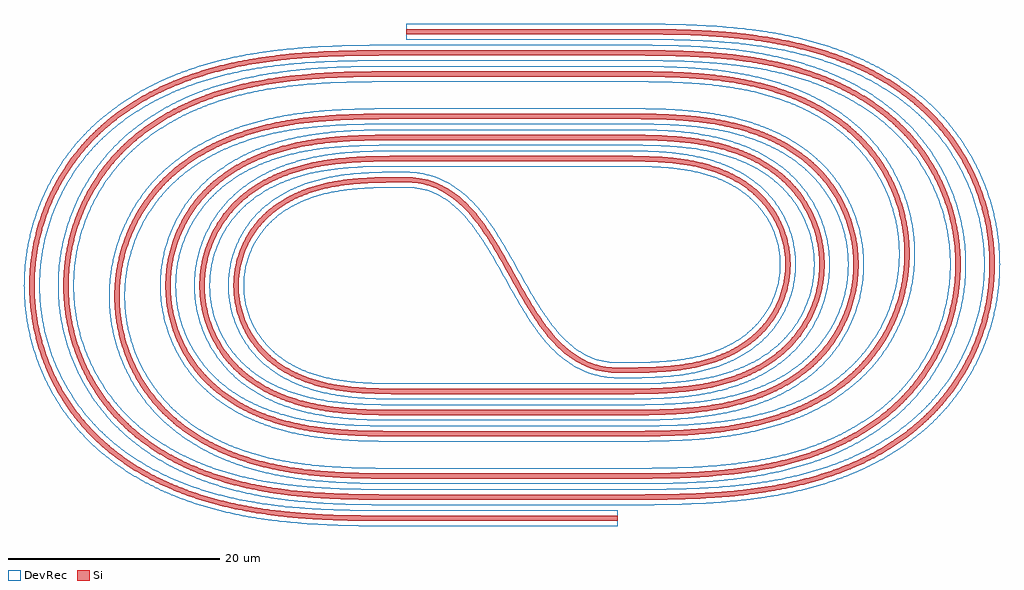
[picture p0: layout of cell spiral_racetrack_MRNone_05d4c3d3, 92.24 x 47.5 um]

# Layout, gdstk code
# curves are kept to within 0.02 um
from math import pi, radians
import gdstk
lib = gdstk.Library(unit=1e-6, precision=1e-09)
def R(c, l, rs):  # rectangles x0, y0, x1, y1
    for r in rs: c.add(gdstk.rectangle(r[:2], r[2:], *l))
def P(c, l, *ps):  # polygons
    for p in ps: c.add(gdstk.Polygon(p, *l))
Si = (1, 0)
DevRec = (68, 0)

bend_s_s20_m18_csstrip__ = lib.new_cell('bend_s_S20_m18_CSstrip__e667d680')
P(bend_s_s20_m18_csstrip__, Si, [(20,-18.25),(19.381,-18.227),(18.497,-18.11),(17.937,-17.979),(17.136,-17.708),(16.629,-17.481),(15.906,-17.076),(15.225,-16.599),(14.584,-16.059),(13.977,-15.462),(13.402,-14.814),(12.854,-14.123),(12.16,-13.143),(11.02,-11.311),(8.86,-7.479),(7.915,-5.893),(6.919,-4.411),(6.394,-3.725),(5.848,-3.084),(5.276,-2.494),(4.676,-1.961),(4.045,-1.49),(3.606,-1.213),(2.676,-0.756),(1.931,-0.503),(1.408,-0.381),(0.863,-0.298),(0,-0.25),(0,0.25),(0.619,0.227),(1.503,0.11),(2.063,-0.021),(2.864,-0.292),(3.371,-0.519),(4.094,-0.924),(4.775,-1.401),(5.416,-1.941),(6.023,-2.538),(6.598,-3.186),(7.146,-3.877),(7.84,-4.857),(8.98,-6.689),(11.14,-10.521),(12.085,-12.107),(13.081,-13.589),(13.606,-14.275),(14.152,-14.916),(14.724,-15.506),(15.324,-16.039),(15.955,-16.51),(16.394,-16.787),(17.324,-17.244),(18.069,-17.497),(18.592,-17.619),(19.137,-17.702),(20,-17.75)])
P(bend_s_s20_m18_csstrip__, DevRec, [(20,-18.75),(19.344,-18.726),(18.403,-18.601),(17.804,-18.461),(16.949,-18.172),(16.146,-17.794),(15.394,-17.339),(14.691,-16.813),(14.031,-16.227),(13.412,-15.587),(12.827,-14.902),(12.273,-14.178),(11.574,-13.163),(10.588,-11.564),(8.58,-7.997),(7.649,-6.413),(6.681,-4.938),(5.831,-3.827),(5.114,-3.037),(4.552,-2.51),(3.765,-1.904),(3.143,-1.527),(2.263,-1.133),(1.558,-0.925),(0.806,-0.795),(0,-0.75),(0,0.75),(0.656,0.726),(1.597,0.601),(2.196,0.461),(3.051,0.172),(3.854,-0.206),(4.606,-0.661),(5.309,-1.187),(5.969,-1.773),(6.588,-2.413),(7.173,-3.098),(7.727,-3.822),(8.426,-4.837),(9.412,-6.436),(11.42,-10.003),(12.351,-11.587),(13.319,-13.062),(14.169,-14.173),(14.886,-14.963),(15.448,-15.49),(16.235,-16.096),(16.857,-16.473),(17.737,-16.867),(18.442,-17.075),(19.194,-17.205),(20,-17.25)])

bend_euler_r10_a180_p0p_ = lib.new_cell('bend_euler_R10_A180_P0p_30772b39')
P(bend_euler_r10_a180_p0p_, Si, [(0,-0.25),(0,0.25),(2.604,0.273),(4.503,0.368),(6.214,0.563),(7.73,0.858),(8.883,1.184),(9.845,1.539),(10.772,1.97),(11.655,2.481),(12.614,3.182),(13.475,3.996),(14.121,4.779),(14.755,5.779),(15.188,6.697),(15.556,7.822),(15.77,8.987),(15.828,10),(15.77,11.013),(15.556,12.178),(15.188,13.303),(14.755,14.221),(14.121,15.221),(13.475,16.004),(12.614,16.818),(11.655,17.519),(10.772,18.03),(9.845,18.461),(8.883,18.816),(7.73,19.142),(6.214,19.437),(4.503,19.632),(2.604,19.727),(0,19.75),(0,20.25),(2.268,20.235),(4.192,20.156),(5.766,20.005),(7.158,19.779),(8.531,19.447),(9.707,19.055),(10.844,18.555),(11.47,18.218),(12.075,17.842),(12.795,17.316),(13.594,16.602),(14.195,15.94),(14.73,15.224),(15.194,14.46),(15.583,13.655),(15.893,12.817),(16.122,11.953),(16.267,11.071),(16.328,10),(16.285,9.107),(16.157,8.222),(15.893,7.183),(15.583,6.345),(15.194,5.54),(14.73,4.776),(14.195,4.06),(13.594,3.398),(13.07,2.912),(12.368,2.361),(11.624,1.872),(10.844,1.445),(10.036,1.077),(9.207,0.765),(8.361,0.505),(7.331,0.256),(6.463,0.096),(5.417,-0.047),(4.192,-0.156),(2.967,-0.217)])
P(bend_euler_r10_a180_p0p_, DevRec, [(0,-0.75),(0,0.75),(2.419,0.768),(4.125,0.842),(5.639,0.987),(6.962,1.201),(8.413,1.56),(9.501,1.939),(10.686,2.489),(11.653,3.081),(12.538,3.776),(13.215,4.454),(13.901,5.336),(14.39,6.159),(14.782,7.032),(15.071,7.945),(15.273,9.044),(15.328,10),(15.273,10.956),(15.071,12.055),(14.782,12.968),(14.39,13.841),(13.901,14.664),(13.215,15.546),(12.538,16.224),(11.653,16.919),(10.686,17.511),(9.501,18.061),(8.413,18.44),(6.962,18.799),(5.639,19.013),(4.125,19.158),(2.419,19.232),(0,19.25),(0,20.75),(2.277,20.735),(4.226,20.655),(5.83,20.501),(7.255,20.27),(8.669,19.928),(9.886,19.521),(11.068,19.002),(12.197,18.36),(12.96,17.822),(13.813,17.087),(14.459,16.402),(15.037,15.659),(15.542,14.864),(15.968,14.024),(16.37,12.968),(16.611,12.057),(16.783,10.941),(16.828,10),(16.783,9.059),(16.648,8.127),(16.425,7.212),(16.115,6.323),(15.722,5.467),(15.248,4.653),(14.815,4.037),(14.209,3.316),(13.537,2.657),(12.811,2.065),(12.04,1.541),(11.233,1.082),(10.397,0.687),(9.541,0.351),(8.669,0.072),(7.61,-0.196),(6.543,-0.398),(5.473,-0.544),(4.226,-0.655),(3.161,-0.71)])

straight_l20_csstrip_wno = lib.new_cell('straight_L20_CSstrip_WNone_N2')
R(straight_l20_csstrip_wno, Si, [(0,-0.25,20,0.25)])
R(straight_l20_csstrip_wno, DevRec, [(0,-0.75,20,0.75)])

bend_euler_r12_a180_p0p_ = lib.new_cell('bend_euler_R12_A180_P0p_834d3699')
P(bend_euler_r12_a180_p0p_, Si, [(0,-0.25),(0,0.25),(3.107,0.277),(5.169,0.374),(7.216,0.589),(9.067,0.929),(10.386,1.281),(11.671,1.734),(12.909,2.298),(13.94,2.888),(15.042,3.677),(15.556,4.117),(16.043,4.589),(16.502,5.094),(16.928,5.628),(17.319,6.188),(17.673,6.772),(17.989,7.378),(18.265,8.002),(18.501,8.643),(18.695,9.298),(18.847,9.964),(18.956,10.638),(19.022,11.317),(19.044,12),(19.022,12.683),(18.956,13.362),(18.847,14.036),(18.695,14.702),(18.501,15.357),(18.265,15.998),(17.989,16.622),(17.673,17.228),(17.319,17.812),(16.928,18.372),(16.502,18.906),(16.043,19.411),(15.556,19.883),(15.042,20.323),(13.94,21.112),(12.909,21.702),(11.671,22.266),(10.386,22.719),(9.067,23.071),(7.216,23.411),(5.169,23.626),(3.107,23.723),(0,23.75),(0,24.25),(2.773,24.231),(5.032,24.137),(6.941,23.953),(8.665,23.669),(10.197,23.297),(11.034,23.035),(11.858,22.73),(12.664,22.379),(13.294,22.065),(14.504,21.341),(15.493,20.601),(16.277,19.887),(16.998,19.093),(17.639,18.234),(18.195,17.317),(18.66,16.351),(19.031,15.344),(19.303,14.307),(19.474,13.249),(19.544,12),(19.492,10.929),(19.338,9.868),(19.083,8.827),(18.729,7.814),(18.195,6.683),(17.639,5.766),(16.998,4.907),(16.277,4.113),(15.628,3.513),(14.794,2.86),(13.908,2.281),(12.981,1.774),(12.02,1.337),(11.034,0.965),(10.028,0.656),(9.008,0.403),(7.632,0.146),(6.421,-0.015),(5.205,-0.125),(3.815,-0.201)])
P(bend_euler_r12_a180_p0p_, DevRec, [(0,-0.75),(0,0.75),(2.581,0.765),(4.795,0.85),(6.646,1.018),(8.302,1.278),(9.117,1.454),(10.081,1.711),(11.485,2.198),(12.825,2.819),(13.395,3.139),(14.079,3.58),(15.1,4.379),(15.907,5.174),(16.624,6.058),(16.988,6.598),(17.316,7.16),(17.608,7.742),(17.862,8.341),(18.077,8.955),(18.252,9.582),(18.386,10.219),(18.48,10.863),(18.544,12),(18.48,13.137),(18.386,13.781),(18.252,14.418),(18.077,15.045),(17.862,15.659),(17.608,16.258),(17.316,16.84),(16.988,17.402),(16.624,17.942),(15.907,18.826),(15.1,19.621),(14.079,20.42),(13.395,20.861),(12.825,21.181),(11.485,21.802),(10.081,22.289),(9.117,22.546),(8.302,22.722),(6.646,22.982),(4.795,23.15),(2.581,23.235),(0,23.25),(0,24.75),(2.783,24.731),(5.065,24.636),(6.828,24.471),(8.589,24.194),(10.161,23.826),(11.706,23.325),(13.041,22.754),(13.848,22.332),(14.476,21.956),(15.38,21.329),(16.23,20.623),(17.142,19.695),(17.84,18.819),(18.451,17.881),(18.97,16.887),(19.39,15.849),(19.752,14.593),(19.948,13.49),(20.038,12.374),(20.02,11.253),(19.863,9.956),(19.614,8.864),(19.261,7.801),(18.807,6.776),(18.258,5.8),(17.617,4.881),(16.891,4.028),(16.23,3.377),(15.38,2.671),(14.476,2.044),(13.528,1.493),(12.545,1.017),(11.366,0.551),(10.161,0.174),(9.115,-0.085),(7.886,-0.32),(6.652,-0.492),(5.065,-0.636),(3.659,-0.707)])

bend_euler_r14_a180_p0p_ = lib.new_cell('bend_euler_R14_A180_P0p_6c08a4f0')
P(bend_euler_r14_a180_p0p_, Si, [(0,-0.25),(0,0.25),(3.611,0.281),(6.008,0.393),(7.201,0.497),(8.389,0.641),(10.404,1.002),(12.052,1.431),(13.656,1.994),(15.046,2.627),(16.368,3.387),(16.929,3.767),(17.602,4.278),(18.241,4.831),(18.847,5.428),(19.305,5.94),(19.837,6.614),(20.229,7.179),(20.674,7.914),(21.067,8.678),(21.343,9.307),(21.584,9.951),(21.835,10.772),(22.028,11.609),(22.164,12.457),(22.241,13.313),(22.259,14),(22.241,14.687),(22.164,15.543),(22.028,16.391),(21.835,17.228),(21.584,18.049),(21.343,18.693),(21.067,19.322),(20.674,20.086),(20.229,20.821),(19.837,21.386),(19.305,22.06),(18.847,22.572),(18.241,23.169),(17.602,23.722),(16.929,24.233),(16.368,24.613),(15.046,25.373),(13.656,26.006),(12.052,26.569),(10.404,26.998),(8.389,27.359),(7.201,27.503),(6.008,27.607),(3.611,27.719),(0,27.75),(0,28.25),(3.278,28.227),(5.871,28.118),(7.253,28.001),(8.287,27.878),(10.172,27.559),(12.03,27.097),(13.026,26.777),(13.843,26.469),(14.645,26.124),(15.429,25.738),(16.192,25.31),(16.931,24.841),(18.053,23.999),(18.96,23.172),(19.801,22.246),(20.549,21.243),(21.196,20.173),(21.738,19.046),(22.168,17.872),(22.363,17.184),(22.519,16.487),(22.699,15.249),(22.759,14),(22.699,12.751),(22.519,11.513),(22.363,10.816),(22.168,10.128),(21.738,8.954),(21.196,7.827),(20.549,6.757),(19.914,5.893),(19.086,4.956),(18.32,4.229),(17.361,3.462),(16.342,2.78),(15.274,2.182),(14.166,1.664),(12.861,1.166),(11.695,0.807),(10.172,0.441),(8.803,0.197),(7.253,-0.001),(5.871,-0.118),(4.142,-0.204)])
P(bend_euler_r14_a180_p0p_, DevRec, [(0,-0.75),(0,0.75),(3.086,0.769),(5.465,0.858),(7.819,1.07),(9.806,1.388),(11.588,1.816),(12.382,2.06),(13.316,2.397),(14.076,2.716),(14.964,3.148),(15.68,3.548),(16.37,3.987),(16.902,4.366),(17.538,4.875),(18.021,5.309),(18.596,5.893),(19.133,6.518),(19.531,7.044),(19.9,7.591),(20.317,8.303),(20.615,8.891),(20.941,9.649),(21.214,10.427),(21.393,11.061),(21.568,11.867),(21.668,12.519),(21.731,13.176),(21.759,14),(21.731,14.824),(21.668,15.481),(21.568,16.133),(21.393,16.939),(21.214,17.573),(20.941,18.351),(20.615,19.109),(20.317,19.697),(19.9,20.409),(19.531,20.956),(19.133,21.482),(18.596,22.107),(18.021,22.691),(17.538,23.125),(16.902,23.634),(16.37,24.013),(15.68,24.452),(14.964,24.852),(14.076,25.284),(13.316,25.603),(12.382,25.94),(11.588,26.184),(9.806,26.612),(7.819,26.93),(5.465,27.142),(3.086,27.231),(0,27.25),(0,28.75),(3.289,28.727),(5.905,28.617),(7.829,28.44),(9.925,28.117),(11.828,27.675),(12.853,27.364),(13.696,27.064),(14.526,26.725),(15.341,26.344),(16.136,25.921),(16.91,25.454),(17.947,24.724),(19.053,23.78),(19.947,22.847),(20.419,22.274),(20.859,21.676),(21.546,20.574),(22.125,19.411),(22.589,18.198),(22.933,16.946),(23.076,16.217),(23.178,15.482),(23.258,14.186),(23.213,12.888),(23.044,11.6),(22.751,10.335),(22.338,9.103),(21.808,7.918),(21.455,7.265),(21.066,6.632),(20.304,5.58),(19.573,4.741),(18.785,3.973),(17.802,3.166),(16.757,2.449),(15.661,1.82),(14.526,1.275),(13.191,0.751),(11.828,0.325),(10.62,0.026),(9.227,-0.242),(7.654,-0.46),(6.254,-0.592),(4.508,-0.691),(2.594,-0.739)])

bend_euler_r17_a180_p0p_ = lib.new_cell('bend_euler_R17_A180_P0p_8af989a6')
P(bend_euler_r17_a180_p0p_, Si, [(0,-0.25),(0,0.25),(4.326,0.286),(7.43,0.433),(8.803,0.555),(10.171,0.722),(11.36,0.91),(12.541,1.142),(13.544,1.378),(14.701,1.702),(16.482,2.324),(17.272,2.655),(18.2,3.094),(18.955,3.496),(19.835,4.023),(20.683,4.599),(21.494,5.224),(22.264,5.899),(22.988,6.622),(23.552,7.261),(24.181,8.068),(24.754,8.915),(25.187,9.649),(25.578,10.406),(25.991,11.342),(26.286,12.142),(26.58,13.122),(26.807,14.119),(26.967,15.129),(27.049,15.978),(27.083,17),(27.049,18.022),(26.967,18.871),(26.807,19.881),(26.58,20.878),(26.286,21.858),(25.991,22.658),(25.578,23.594),(25.187,24.351),(24.754,25.085),(24.181,25.932),(23.552,26.739),(22.988,27.378),(22.264,28.101),(21.494,28.776),(20.683,29.401),(19.835,29.977),(18.955,30.504),(18.2,30.906),(17.272,31.345),(16.482,31.676),(14.701,32.298),(13.544,32.622),(12.541,32.858),(11.36,33.09),(10.171,33.278),(8.803,33.445),(7.43,33.567),(4.326,33.714),(0,33.75),(0,34.25),(3.991,34.222),(7.119,34.09),(8.508,33.977),(9.894,33.82),(11.103,33.641),(12.305,33.419),(13.498,33.149),(14.512,32.876),(15.68,32.506),(16.828,32.076),(17.794,31.658),(18.892,31.109),(19.656,30.676),(20.544,30.109),(21.812,29.162),(22.986,28.099),(23.936,27.06),(24.888,25.794),(25.709,24.438),(26.32,23.169),(26.868,21.683),(27.264,20.149),(27.503,18.582),(27.583,17),(27.503,15.418),(27.264,13.851),(26.868,12.317),(26.32,10.831),(25.709,9.562),(24.888,8.206),(24.048,7.076),(23.232,6.153),(22.214,5.179),(21.118,4.297),(19.806,3.415),(18.582,2.727),(17.152,2.058),(15.68,1.494),(14.175,1.029),(12.647,0.653),(10.93,0.331),(9.202,0.096),(7.293,-0.078),(5.381,-0.181),(2.949,-0.239)])
P(bend_euler_r17_a180_p0p_, DevRec, [(0,-0.75),(0,0.75),(3.97,0.778),(7.052,0.908),(9.596,1.15),(10.772,1.318),(11.939,1.527),(12.929,1.742),(14.233,2.084),(15.354,2.44),(16.297,2.789),(17.222,3.18),(18.271,3.693),(19.142,4.183),(19.983,4.718),(20.789,5.301),(21.43,5.823),(22.043,6.377),(22.734,7.085),(23.377,7.837),(23.872,8.496),(24.417,9.321),(24.828,10.036),(25.198,10.772),(25.587,11.682),(25.864,12.459),(26.137,13.409),(26.347,14.376),(26.471,15.191),(26.55,16.011),(26.583,17),(26.55,17.989),(26.471,18.809),(26.347,19.624),(26.137,20.591),(25.914,21.384),(25.587,22.318),(25.198,23.228),(24.828,23.964),(24.417,24.679),(23.872,25.504),(23.377,26.163),(22.734,26.915),(22.043,27.623),(21.43,28.177),(20.789,28.699),(19.983,29.282),(19.142,29.817),(18.271,30.307),(17.222,30.82),(16.297,31.211),(15.354,31.56),(14.233,31.916),(12.929,32.258),(11.939,32.473),(10.772,32.682),(9.596,32.85),(7.052,33.092),(3.97,33.222),(0,33.25),(0,34.75),(4.002,34.722),(7.153,34.589),(9.784,34.338),(11.01,34.163),(12.231,33.944),(13.273,33.718),(14.48,33.405),(15.674,33.036),(16.683,32.671),(17.676,32.259),(18.651,31.799),(19.601,31.287),(20.524,30.723),(21.847,29.776),(23.079,28.707),(23.718,28.061),(24.202,27.519),(24.773,26.812),(25.2,26.224),(25.696,25.463),(26.062,24.835),(26.78,23.366),(27.29,22.005),(27.547,21.133),(27.716,20.427),(27.96,18.994),(28.033,18.271),(28.079,17.363),(28.074,16.455),(28.033,15.729),(27.96,15.006),(27.823,14.108),(27.677,13.396),(27.45,12.516),(27.233,11.822),(26.919,10.97),(26.557,10.137),(26.234,9.485),(25.883,8.849),(25.404,8.077),(24.549,6.902),(23.593,5.807),(22.544,4.803),(21.415,3.895),(20.22,3.083),(18.811,2.283),(17.347,1.598),(15.843,1.022),(14.308,0.547),(12.579,0.127),(11.01,-0.163),(9.258,-0.401),(7.504,-0.564),(5.576,-0.674),(2.955,-0.739)])

bend_euler_r20_a180_p0p_ = lib.new_cell('bend_euler_R20_A180_P0p_ef53a950')
P(bend_euler_r20_a180_p0p_, Si, [(0,-0.25),(0,0.25),(4.637,0.282),(6.523,0.339),(8.234,0.43),(9.77,0.551),(11.301,0.717),(12.992,0.962),(14.336,1.21),(15.503,1.469),(16.823,1.817),(17.963,2.169),(19.086,2.569),(20.034,2.951),(21.271,3.52),(22.324,4.076),(23.201,4.596),(24.191,5.255),(25.141,5.97),(25.918,6.628),(26.778,7.449),(27.478,8.204),(28.238,9.135),(28.933,10.114),(29.477,10.989),(29.969,11.894),(30.476,12.983),(30.909,14.104),(31.266,15.251),(31.545,16.419),(31.746,17.604),(31.854,18.628),(31.906,19.828),(31.877,21.029),(31.768,22.226),(31.579,23.412),(31.354,24.417),(31.019,25.571),(30.67,26.54),(30.195,27.643),(29.729,28.562),(29.211,29.452),(28.544,30.451),(27.811,31.403),(27.016,32.304),(26.292,33.028),(25.403,33.815),(24.467,34.547),(23.488,35.222),(22.472,35.84),(21.423,36.404),(20.502,36.844),(19.404,37.308),(18.286,37.722),(16.986,38.136),(15.834,38.449),(14.671,38.72),(13.329,38.98),(11.979,39.193),(10.281,39.399),(8.747,39.534),(7.037,39.638),(5.152,39.706),(0,39.75),(0,40.25),(4.648,40.218),(6.716,40.153),(8.267,40.069),(9.816,39.947),(11.363,39.779),(12.904,39.559),(14.266,39.314),(15.62,39.017),(17.127,38.616),(18.285,38.251),(19.588,37.773),(20.865,37.227),(21.957,36.691),(23.02,36.099),(24.05,35.45),(24.763,34.95),(25.589,34.311),(26.887,33.149),(27.5,32.518),(28.084,31.857),(28.635,31.168),(29.153,30.454),(29.636,29.716),(30.168,28.801),(30.571,28.016),(30.936,27.213),(31.262,26.393),(31.548,25.558),(31.794,24.711),(32.035,23.681),(32.217,22.638),(32.304,21.937),(32.376,21.058),(32.406,20.176),(32.393,19.294),(32.322,18.238),(32.217,17.362),(32.035,16.319),(31.794,15.289),(31.548,14.442),(31.262,13.607),(30.936,12.787),(30.571,11.984),(30.168,11.199),(29.728,10.435),(29.252,9.692),(28.419,8.553),(27.854,7.875),(27.258,7.225),(26.636,6.609),(25.989,6.025),(24.763,5.05),(23.318,4.08),(22.417,3.555),(21.648,3.15),(19.91,2.357),(18.285,1.749),(16.627,1.242),(14.775,0.791),(12.562,0.387),(10.504,0.122),(8.267,-0.069),(6.199,-0.174),(3.786,-0.233)])
P(bend_euler_r20_a180_p0p_, DevRec, [(0,-0.75),(0,0.75),(4.627,0.782),(6.673,0.846),(8.371,0.94),(11.239,1.213),(12.744,1.428),(14.071,1.667),(15.386,1.955),(16.685,2.297),(17.805,2.643),(19.064,3.096),(20.296,3.612),(21.346,4.118),(22.367,4.677),(23.355,5.289),(24.304,5.955),(25.21,6.675),(25.949,7.336),(26.766,8.161),(27.531,9.044),(28.138,9.841),(28.698,10.67),(29.29,11.677),(29.743,12.57),(30.205,13.642),(30.543,14.584),(30.869,15.706),(31.088,16.683),(31.272,17.836),(31.367,18.833),(31.406,19.833),(31.378,21.001),(31.272,22.164),(31.088,23.317),(30.869,24.294),(30.543,25.416),(30.205,26.358),(29.743,27.43),(29.29,28.323),(28.698,29.33),(28.138,30.159),(27.531,30.956),(26.766,31.839),(25.949,32.664),(25.21,33.325),(24.304,34.045),(23.355,34.711),(22.367,35.323),(21.346,35.882),(20.296,36.388),(19.064,36.904),(17.805,37.357),(16.685,37.703),(15.386,38.045),(14.071,38.333),(12.744,38.572),(11.239,38.787),(8.371,39.06),(6.673,39.154),(4.627,39.218),(0,39.25),(0,40.75),(4.658,40.718),(6.564,40.66),(8.3,40.568),(10.036,40.428),(11.425,40.275),(12.811,40.08),(14.364,39.804),(15.737,39.503),(17.098,39.145),(18.445,38.724),(19.772,38.238),(20.913,37.755),(22.031,37.216),(23.122,36.62),(24.181,35.964),(24.914,35.458),(25.766,34.81),(27.109,33.631),(27.743,32.99),(28.349,32.317),(29.033,31.471),(29.565,30.738),(30.156,29.825),(30.608,29.04),(31.021,28.233),(31.396,27.408),(31.731,26.566),(32.025,25.709),(32.277,24.839),(32.488,23.958),(32.656,23.067),(32.782,22.17),(32.864,21.268),(32.906,20.181),(32.893,19.275),(32.836,18.371),(32.737,17.47),(32.594,16.575),(32.367,15.512),(32.131,14.637),(31.853,13.775),(31.535,12.926),(31.176,12.094),(30.778,11.28),(30.249,10.33),(29.768,9.563),(28.81,8.243),(27.743,7.01),(26.584,5.882),(25.202,4.753),(24.329,4.135),(23.58,3.654),(22.031,2.784),(20.427,2.031),(18.612,1.333),(16.759,0.76),(14.88,0.302),(12.811,-0.08),(10.904,-0.337),(8.647,-0.544),(6.391,-0.667),(3.793,-0.733)])

bend_euler_r22_a180_p0p_ = lib.new_cell('bend_euler_R22_A180_P0p_a5f53e23')
P(bend_euler_r22_a180_p0p_, Si, [(0,-0.25),(0,0.25),(4.998,0.283),(7.406,0.358),(9.123,0.452),(11.007,0.606),(12.883,0.822),(14.41,1.053),(15.927,1.338),(17.43,1.683),(18.587,1.996),(19.894,2.404),(21.181,2.87),(22.444,3.396),(23.525,3.908),(24.581,4.469),(25.608,5.08),(26.74,5.842),(27.691,6.564),(28.599,7.338),(29.579,8.285),(30.492,9.297),(31.231,10.233),(31.913,11.211),(32.618,12.377),(33.167,13.435),(33.716,14.683),(34.177,15.965),(34.507,17.111),(34.767,18.274),(34.957,19.452),(35.075,20.638),(35.122,22),(35.075,23.362),(34.957,24.548),(34.767,25.726),(34.507,26.889),(34.177,28.035),(33.716,29.317),(33.167,30.565),(32.618,31.623),(31.913,32.789),(31.231,33.767),(30.492,34.703),(29.579,35.715),(28.599,36.662),(27.691,37.436),(26.74,38.158),(25.608,38.92),(24.581,39.531),(23.525,40.092),(22.444,40.604),(21.181,41.13),(19.894,41.596),(18.587,42.004),(17.43,42.317),(15.927,42.662),(14.41,42.947),(12.883,43.178),(11.007,43.394),(9.123,43.548),(7.406,43.642),(4.998,43.717),(0,43.75),(0,44.25),(5.008,44.217),(7.255,44.149),(9.156,44.047),(11.055,43.892),(12.434,43.74),(13.979,43.524),(15.518,43.254),(17.046,42.925),(18.559,42.532),(20.054,42.069),(21.362,41.596),(22.488,41.131),(23.905,40.461),(25.279,39.706),(26.459,38.962),(27.314,38.359),(28.14,37.716),(28.804,37.15),(29.57,36.435),(30.298,35.681),(30.874,35.025),(31.528,34.205),(32.138,33.353),(32.612,32.62),(33.139,31.714),(33.618,30.782),(34.048,29.826),(34.428,28.849),(34.706,28.021),(34.991,27.013),(35.225,25.991),(35.405,24.959),(35.514,24.092),(35.595,23.048),(35.622,22),(35.595,20.952),(35.514,19.908),(35.405,19.041),(35.225,18.009),(34.991,16.987),(34.706,15.979),(34.428,15.151),(34.048,14.174),(33.618,13.218),(33.139,12.286),(32.703,11.529),(32.138,10.647),(31.097,9.245),(30.416,8.448),(29.817,7.812),(29.192,7.203),(28.408,6.507),(27.032,5.436),(25.429,4.383),(23.905,3.539),(22.008,2.664),(20.054,1.931),(18.056,1.329),(16.198,0.884),(13.979,0.476),(11.573,0.161),(9.502,-0.023),(6.909,-0.163),(4.317,-0.229)])
P(bend_euler_r22_a180_p0p_, DevRec, [(0,-0.75),(0,0.75),(5.331,0.79),(8.749,0.929),(10.45,1.056),(12.142,1.232),(13.657,1.438),(15.161,1.696),(16.486,1.971),(17.961,2.339),(19.254,2.721),(20.686,3.216),(21.933,3.718),(23.151,4.28),(24.481,4.987),(25.622,5.683),(26.584,6.346),(27.636,7.164),(28.509,7.934),(29.335,8.752),(30.215,9.746),(30.928,10.664),(31.673,11.764),(32.261,12.766),(32.788,13.802),(33.251,14.868),(33.701,16.118),(34.023,17.235),(34.307,18.532),(34.482,19.681),(34.587,20.838),(34.622,22),(34.587,23.162),(34.482,24.319),(34.307,25.468),(34.023,26.765),(33.701,27.882),(33.251,29.132),(32.788,30.198),(32.261,31.234),(31.673,32.236),(30.928,33.336),(30.215,34.254),(29.335,35.248),(28.509,36.066),(27.636,36.836),(26.584,37.654),(25.622,38.317),(24.481,39.013),(23.151,39.72),(21.933,40.282),(20.686,40.784),(19.254,41.279),(17.961,41.661),(16.486,42.029),(15.161,42.304),(13.657,42.562),(12.142,42.768),(10.45,42.944),(8.749,43.071),(5.331,43.21),(0,43.25),(0,44.75),(5.018,44.717),(6.755,44.669),(9.016,44.557),(10.93,44.406),(12.495,44.236),(14.057,44.018),(15.786,43.711),(17.332,43.371),(18.865,42.965),(20.213,42.543),(21.543,42.062),(22.851,41.517),(24.132,40.906),(25.38,40.226),(26.59,39.476),(27.323,38.971),(28.178,38.327),(29.002,37.642),(29.792,36.916),(30.422,36.281),(31.141,35.483),(31.818,34.649),(32.451,33.781),(33.038,32.882),(33.491,32.11),(33.99,31.16),(34.439,30.184),(34.837,29.187),(35.129,28.341),(35.431,27.31),(35.679,26.265),(35.844,25.386),(35.992,24.322),(36.084,23.252),(36.121,22.179),(36.103,21.105),(36.029,20.034),(35.925,19.145),(35.749,18.086),(35.519,17.037),(35.287,16.173),(34.958,15.15),(34.577,14.146),(34.145,13.163),(33.663,12.204),(33.223,11.424),(32.652,10.515),(31.597,9.069),(30.906,8.247),(30.299,7.59),(29.002,6.358),(28.178,5.673),(27.468,5.134),(25.99,4.14),(24.29,3.175),(23.335,2.704),(22.363,2.271),(20.547,1.571),(18.526,0.939),(16.474,0.432),(14.403,0.038),(11.974,-0.298),(9.364,-0.534),(6.755,-0.669),(4.324,-0.729)])

spiral_racetrack_mrnone_ = lib.new_cell('spiral_racetrack_MRNone_05d4c3d3')
spiral_racetrack_mrnone_.add(gdstk.Reference(bend_s_s20_m18_csstrip__, (0,0)))
spiral_racetrack_mrnone_.add(gdstk.Reference(bend_euler_r10_a180_p0p_, (0,0), rotation=pi))
spiral_racetrack_mrnone_.add(gdstk.Reference(straight_l20_csstrip_wno, (0,-20)))
spiral_racetrack_mrnone_.add(gdstk.Reference(bend_euler_r12_a180_p0p_, (20,-20)))
spiral_racetrack_mrnone_.add(gdstk.Reference(straight_l20_csstrip_wno, (20,4), rotation=pi))
spiral_racetrack_mrnone_.add(gdstk.Reference(bend_euler_r14_a180_p0p_, (0,4), rotation=pi))
spiral_racetrack_mrnone_.add(gdstk.Reference(straight_l20_csstrip_wno, (0,-24)))
spiral_racetrack_mrnone_.add(gdstk.Reference(bend_euler_r17_a180_p0p_, (20,-24)))
spiral_racetrack_mrnone_.add(gdstk.Reference(straight_l20_csstrip_wno, (20,10), rotation=pi))
spiral_racetrack_mrnone_.add(gdstk.Reference(bend_euler_r20_a180_p0p_, (0,10), rotation=pi))
spiral_racetrack_mrnone_.add(gdstk.Reference(straight_l20_csstrip_wno, (0,-30)))
spiral_racetrack_mrnone_.add(gdstk.Reference(bend_euler_r22_a180_p0p_, (20,-30)))
spiral_racetrack_mrnone_.add(gdstk.Reference(straight_l20_csstrip_wno, (20,14), rotation=pi))
spiral_racetrack_mrnone_.add(gdstk.Reference(bend_euler_r10_a180_p0p_, (20,-18)))
spiral_racetrack_mrnone_.add(gdstk.Reference(straight_l20_csstrip_wno, (20,2), rotation=pi))
spiral_racetrack_mrnone_.add(gdstk.Reference(bend_euler_r12_a180_p0p_, (0,2), rotation=pi))
spiral_racetrack_mrnone_.add(gdstk.Reference(straight_l20_csstrip_wno, (0,-22)))
spiral_racetrack_mrnone_.add(gdstk.Reference(bend_euler_r14_a180_p0p_, (20,-22)))
spiral_racetrack_mrnone_.add(gdstk.Reference(straight_l20_csstrip_wno, (20,6), rotation=pi))
spiral_racetrack_mrnone_.add(gdstk.Reference(bend_euler_r17_a180_p0p_, (0,6), rotation=pi))
spiral_racetrack_mrnone_.add(gdstk.Reference(straight_l20_csstrip_wno, (0,-28)))
spiral_racetrack_mrnone_.add(gdstk.Reference(bend_euler_r20_a180_p0p_, (20,-28)))
spiral_racetrack_mrnone_.add(gdstk.Reference(straight_l20_csstrip_wno, (20,12), rotation=pi))
spiral_racetrack_mrnone_.add(gdstk.Reference(bend_euler_r22_a180_p0p_, (0,12), rotation=pi))
spiral_racetrack_mrnone_.add(gdstk.Reference(straight_l20_csstrip_wno, (0,-32)))

lib.write_gds('spiral_racetrack_MRNone_05d4c3d3.gds')
